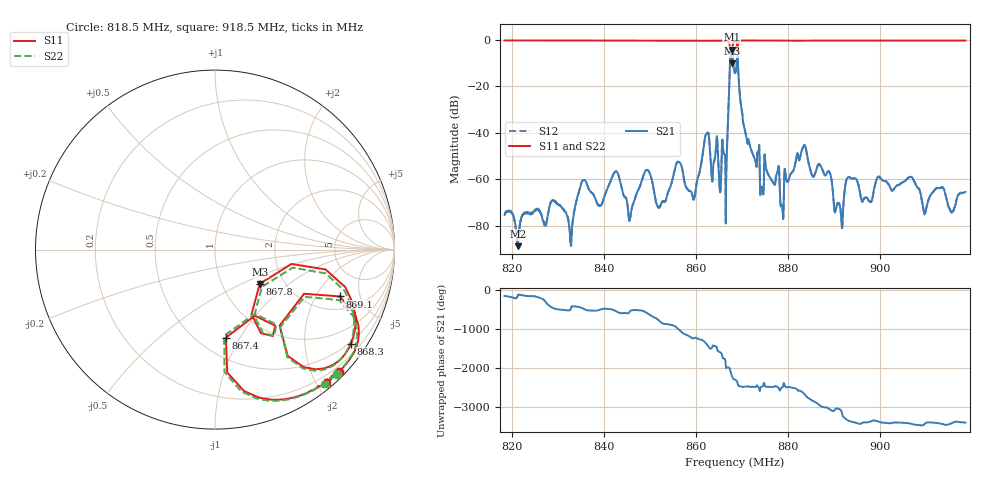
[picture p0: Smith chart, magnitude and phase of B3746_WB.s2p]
! Matrix data file written by TouchstoneData, EPCOS AG
! FILENAME: "B3746_WB.s2p"
! COMMENT: "S-Parameter B3746 Wideband (unmatched)"
! INFO: nport=2, nfreq=1601
! DATE: "Tue Jul 22 10:54:27 2008"
! USER: "Thomas Telgmann"
! port | pin | signal
!  1  |  2  |  in
!  2  |  4  |  out
# MHZ S MA R 50
! freq  magS11 angS11  magS21 angS21  magS12 angS12  magS22 angS22
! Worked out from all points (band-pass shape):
!   1601 points, 818.5 MHz to 918.5 MHz, reference 50 ohm
!   highest |S21| = -4.26 dB at 867.8 MHz (marker M1); lowest = -88.8 dB at 821.4 MHz (marker M2)
!   |S21| within 3 dB of the highest: 867.4634 MHz to 867.9816 MHz (518.2 kHz wide, 0.0597 % of centre); 868.9864 MHz to 869.0653 MHz (78.86 kHz wide, 0.00907 % of centre)
!   lowest |S11| = -10.1 dB at 867.8 MHz (marker M3), VSWR 1.92, Z = 75.1 - j31.8 ohm
!   |S11| at or under -10 dB: 867.811 MHz to 867.8137 MHz (2.693 kHz wide, 0.00031 % of centre)
!   |S22| runs from -9.5 to -0.3 dB; largest |S21 - S12| = 0.00092
!   S11 on the Smith chart (normalised r, x): 818.5 MHz: 0.10, -2.43; 867.4 MHz: 0.67, -0.87; 867.8 MHz: 1.50, -0.64; 868.3 MHz: 0.45, -3.14; 869.1 MHz: 2.79, -3.23; 918.5 MHz: 0.09, -2.15
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818.5  0.972 -44.7  0.0001706 -160.2  0.000177 -157.4  0.9707 -45.6
821.375  0.9716 -44.9  3.638e-05 -144.4  4.425e-05 -152.1  0.9704 -45.8
832.875  0.9705 -45.6  4.515e-05 -111.9  4.109e-05 -111.5  0.9697 -46.5
835.1875  0.9697 -45.8  0.0008503 -99.1  0.0008462 -99.0  0.9691 -46.6
845.75  0.9691 -46.6  0.0001481 -175.8  0.0001473 -177.9  0.969 -47.4
849.5  0.9672 -46.9  0.001588 120.8  0.001596 120.7  0.9671 -47.7
851.875  0.9678 -47.1  0.0002546 -50.1  0.0002532 -50.9  0.9681 -47.9
856.1875  0.9656 -47.7  0.002377 79.0  0.002383 79.0  0.9657 -48.5
859.5625  0.9667 -48.4  0.0003684 -154.6  0.000363 -154.0  0.9669 -49.2
862.375  0.9587 -49.3  0.00961 49.8  0.009589 49.9  0.959 -50.0
865.3125  0.9611 -51.9  0.0005296 -156.9  0.0005227 -156.1  0.9617 -52.7
866.5625  0.9498 -56.9  0.0008566 162.8  0.0008542 162.7  0.9504 -57.6
867.4375  0.494 -82.9  0.3952 109.1  0.3945 109.2  0.483 -84.0
867.8125  0.3142 -37.4  0.6125 -32.3  0.6119 -32.3  0.334 -38.4
868.3125  0.9213 -34.7  0.2145 -124.2  0.2142 -124.1  0.9217 -35.8
868.5  0.9295 -40.2  0.1938 -133.5  0.1935 -133.5  0.9298 -41.1
869.125  0.7417 -20.6  0.3385 102.9  0.338 102.9  0.7463 -22.1
874.3125  0.9685 -45.6  0.0006963 48.4  0.0006984 49.0  0.9687 -46.4
885.1875  0.9649 -47.3  0.001228 59.5  0.001232 60.3  0.965 -48.1
891.5  0.9669 -48.0  0.0001804 163.0  0.0001746 164.1  0.9667 -48.8
901.875  0.966 -48.8  0.0007661 -165.0  0.0007655 -163.9  0.9652 -49.6
918.5  0.967 -49.9  0.000534 -148.1  0.0005324 -148.5  0.9655 -50.7
